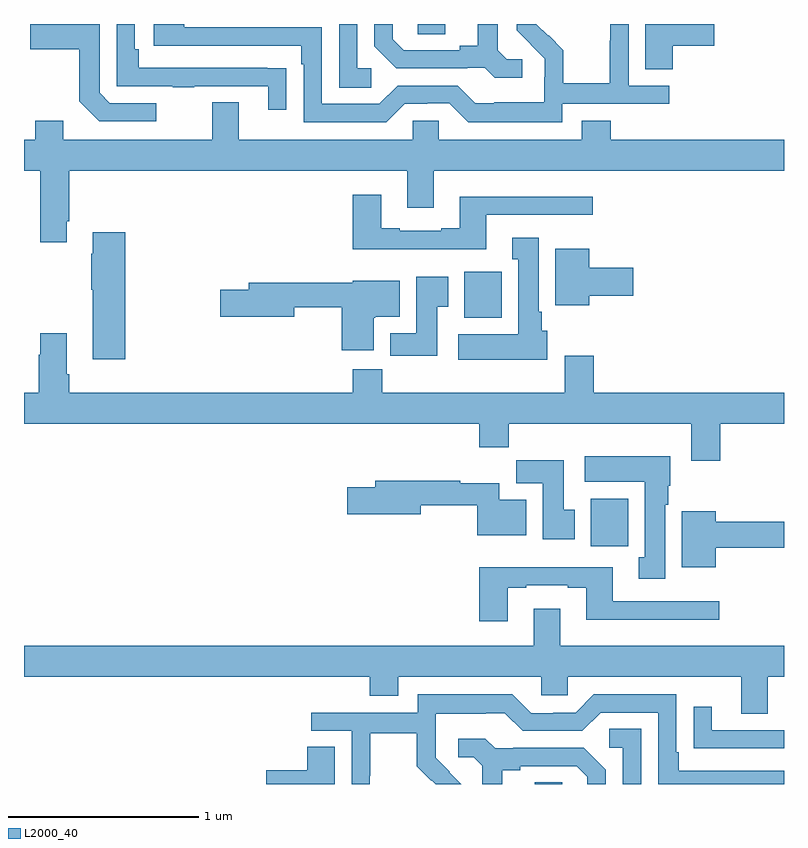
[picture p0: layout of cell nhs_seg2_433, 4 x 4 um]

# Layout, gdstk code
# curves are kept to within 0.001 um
import gdstk
lib = gdstk.Library(unit=1e-6, precision=1e-09)
def R(c, l, rs):  # rectangles x0, y0, x1, y1
    for r in rs: c.add(gdstk.rectangle(r[:2], r[2:], *l))
def P(c, l, *ps):  # polygons
    for p in ps: c.add(gdstk.Polygon(p, *l))
L2000_40 = (2000, 40)

nhs_seg2_433 = lib.new_cell('nhs_seg2_433')
R(nhs_seg2_433, L2000_40, [(135.689,585.8,135.834,585.809), (135.983,587.052,136.179,587.302), (135.317,588.254,135.514,588.496), (135.072,589.747,135.217,589.8)])
P(nhs_seg2_433, L2000_40, [(135.834,589.38),(136.396,589.38),(136.396,589.476),(136.182,589.476),(136.182,589.8),(136.086,589.8),(136.086,589.712),(136.084,589.712),(136.084,589.489),(135.839,589.489),(135.839,589.663),(135.762,589.74),(135.759,589.737),(135.697,589.8),(135.594,589.8),(135.594,589.766),(135.74,589.618),(135.74,589.521),(135.738,589.521),(135.738,589.387),(135.475,589.387),(135.475,589.383),(135.375,589.383),(135.282,589.476),(134.967,589.476),(134.871,589.38),(134.568,589.38),(134.568,589.782),(133.844,589.782),(133.844,589.8),(133.683,589.8),(133.683,589.686),(134.459,589.686),(134.459,589.589),(134.472,589.589),(134.472,589.284),(134.907,589.284),(135.003,589.38),(135.122,589.38),(135.122,589.383),(135.237,589.383),(135.337,589.283),(135.834,589.283)],
  [(133.696,589.383),(133.452,589.383),(133.398,589.437),(133.398,589.8),(133.033,589.8),(133.033,589.666),(133.29,589.666),(133.29,589.393),(133.395,589.287),(133.696,589.287)],
  [(134.827,589.566),(134.754,589.566),(134.754,589.8),(134.658,589.8),(134.658,589.465),(134.827,589.465)],
  [(135.622,589.614),(135.54,589.614),(135.493,589.661),(135.493,589.8),(135.389,589.8),(135.389,589.685),(135.293,589.685),(135.293,589.662),(134.998,589.662),(134.941,589.719),(134.941,589.8),(134.844,589.8),(134.844,589.682),(134.96,589.566),(135.332,589.566),(135.332,589.569),(135.426,589.569),(135.478,589.517),(135.622,589.517)],
  [(134.381,589.568),(134.279,589.568),(134.279,589.569),(133.604,589.569),(133.604,589.666),(133.584,589.666),(133.584,589.8),(133.488,589.8),(133.488,589.473),(133.783,589.473),(133.783,589.468),(133.895,589.468),(133.895,589.473),(134.285,589.473),(134.285,589.35),(134.381,589.35)],
  [(136.415,589.685),(136.633,589.685),(136.633,589.8),(136.271,589.8),(136.271,589.561),(136.415,589.561)],
  [(133.225,588.763),(133.238,588.763),(133.238,589.028),(135.017,589.028),(135.017,588.834),(135.157,588.834),(135.157,589.028),(137,589.028),(137,589.192),(136.088,589.192),(136.088,589.291),(135.935,589.291),(135.935,589.192),(135.183,589.192),(135.183,589.29),(135.045,589.29),(135.045,589.192),(134.131,589.192),(134.131,589.387),(133.991,589.387),(133.991,589.192),(133.207,589.192),(133.207,589.291),(133.06,589.291),(133.06,589.192),(133,589.192),(133,589.028),(133.085,589.028),(133.085,588.651),(133.225,588.651)],
  [(135.433,588.795),(135.994,588.795),(135.994,588.892),(135.293,588.892),(135.293,588.724),(135.197,588.724),(135.197,588.711),(134.977,588.711),(134.977,588.724),(134.881,588.724),(134.881,588.901),(134.729,588.901),(134.729,588.614),(135.433,588.614)],
  [(133.534,588.703),(133.361,588.703),(133.361,588.59),(133.354,588.59),(133.354,588.401),(133.361,588.401),(133.361,588.036),(133.534,588.036)],
  [(135.754,588.186),(135.724,588.186),(135.724,588.286),(135.709,588.286),(135.709,588.676),(135.569,588.676),(135.569,588.563),(135.602,588.563),(135.602,588.166),(135.285,588.166),(135.285,588.032),(135.754,588.032)],
  [(135.976,588.371),(136.207,588.371),(136.207,588.518),(135.976,588.518),(135.976,588.616),(135.797,588.616),(135.797,588.32),(135.976,588.32)],
  [(135.175,588.313),(135.232,588.313),(135.232,588.469),(135.065,588.469),(135.065,588.172),(134.927,588.172),(134.927,588.054),(135.175,588.054)],
  [(134.842,588.254),(134.848,588.254),(134.848,588.26),(134.977,588.26),(134.977,588.448),(134.73,588.448),(134.73,588.437),(134.183,588.437),(134.183,588.401),(134.034,588.401),(134.034,588.259),(134.422,588.259),(134.422,588.309),(134.672,588.309),(134.672,588.084),(134.842,588.084)],
  [(136.664,587.696),(137,587.696),(137,587.86),(135.998,587.86),(135.998,588.055),(135.845,588.055),(135.845,587.86),(134.885,587.86),(134.885,587.984),(134.729,587.984),(134.729,587.86),(133.238,587.86),(133.238,587.956),(133.225,587.956),(133.225,588.172),(133.085,588.172),(133.085,588.059),(133.078,588.059),(133.078,587.86),(133,587.86),(133,587.696),(135.395,587.696),(135.395,587.572),(135.551,587.572),(135.551,587.696),(136.511,587.696),(136.511,587.502),(136.664,587.502)],
  [(136.375,587.27),(136.39,587.27),(136.39,587.37),(136.402,587.37),(136.402,587.524),(135.951,587.524),(135.951,587.39),(136.268,587.39),(136.268,586.993),(136.235,586.993),(136.235,586.881),(136.375,586.881)],
  [(135.898,587.244),(135.841,587.244),(135.841,587.503),(135.592,587.503),(135.592,587.384),(135.731,587.384),(135.731,587.088),(135.898,587.088)],
  [(135.643,587.296),(135.502,587.296),(135.502,587.384),(135.296,587.384),(135.296,587.395),(134.849,587.395),(134.849,587.361),(134.7,587.361),(134.7,587.219),(135.088,587.219),(135.088,587.266),(135.385,587.266),(135.385,587.108),(135.643,587.108)],
  [(136.642,587.044),(137,587.044),(137,587.18),(136.642,587.18),(136.642,587.236),(136.463,587.236),(136.463,586.94),(136.642,586.94)],
  [(135.547,586.833),(135.643,586.833),(135.643,586.845),(135.863,586.845),(135.863,586.833),(135.959,586.833),(135.959,586.664),(136.66,586.664),(136.66,586.761),(136.099,586.761),(136.099,586.942),(135.395,586.942),(135.395,586.656),(135.547,586.656)],
  [(136.915,586.364),(137,586.364),(137,586.528),(135.823,586.528),(135.823,586.723),(135.683,586.723),(135.683,586.528),(133,586.528),(133,586.364),(134.819,586.364),(134.819,586.265),(134.971,586.265),(134.971,586.364),(135.723,586.364),(135.723,586.266),(135.861,586.266),(135.861,586.364),(136.775,586.364),(136.775,586.17),(136.915,586.17)],
  [(134.82,585.844),(134.823,585.844),(134.823,586.068),(135.067,586.068),(135.067,585.893),(135.144,585.816),(135.147,585.819),(135.166,585.8),(135.302,585.8),(135.166,585.938),(135.166,586.035),(135.168,586.035),(135.168,586.169),(135.431,586.169),(135.431,586.173),(135.531,586.173),(135.624,586.08),(135.939,586.08),(136.035,586.176),(136.338,586.176),(136.338,585.8),(137,585.8),(137,585.87),(136.447,585.87),(136.447,585.967),(136.434,585.967),(136.434,586.272),(135.999,586.272),(135.903,586.176),(135.785,586.176),(135.785,586.173),(135.669,586.173),(135.569,586.273),(135.072,586.273),(135.072,586.176),(134.511,586.176),(134.511,586.08),(134.724,586.08),(134.724,585.8),(134.82,585.8)],
  [(137,586.083),(136.621,586.083),(136.621,586.207),(136.525,586.207),(136.525,585.988),(136.627,585.988),(136.627,585.987),(137,585.987)],
  [(136.248,586.091),(136.08,586.091),(136.08,585.99),(136.152,585.99),(136.152,585.8),(136.248,585.8)],
  [(135.517,585.872),(135.613,585.872),(135.613,585.894),(135.908,585.894),(135.965,585.837),(135.965,585.8),(136.062,585.8),(136.062,585.874),(135.946,585.99),(135.574,585.99),(135.574,585.987),(135.48,585.987),(135.428,586.039),(135.285,586.039),(135.285,585.942),(135.366,585.942),(135.413,585.895),(135.413,585.8),(135.517,585.8)],
  [(134.635,585.995),(134.492,585.995),(134.492,585.872),(134.274,585.872),(134.274,585.8),(134.635,585.8)])

lib.write_gds('nhs_seg2_433.gds')
